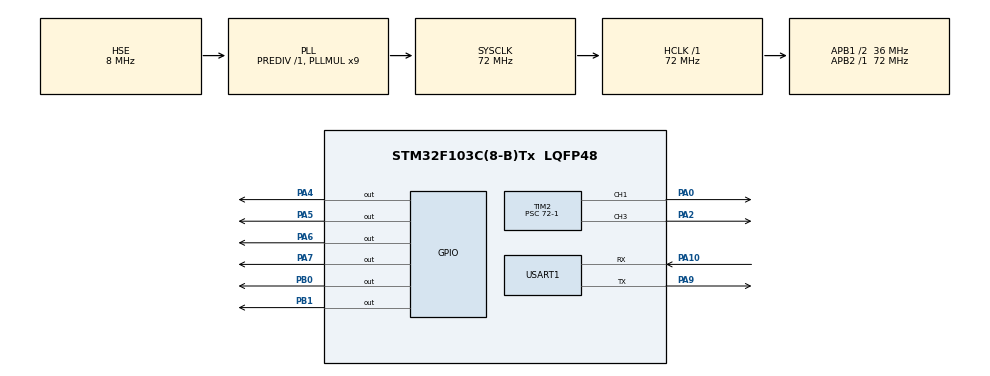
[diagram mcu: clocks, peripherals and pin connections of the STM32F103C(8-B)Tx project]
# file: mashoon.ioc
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Mcu.Family=STM32F1
Mcu.Name=STM32F103C(8-B)Tx
Mcu.Package=LQFP48
NVIC.PriorityGroup=NVIC_PRIORITYGROUP_4
NVIC.USART1_IRQn=true\:1\:0\:true\:false\:true\:true\:true
PA0-WKUP.Signal=S_TIM2_CH1_ETR
PA10.Mode=Asynchronous
PA10.Signal=USART1_RX
PA13.Mode=Serial_Wire
PA13.Signal=SYS_JTMS-SWDIO
PA14.Mode=Serial_Wire
PA14.Signal=SYS_JTCK-SWCLK
PA2.Signal=S_TIM2_CH3
PA4.Signal=GPIO_Output
PA5.Signal=GPIO_Output
PA6.Signal=GPIO_Output
PA7.Signal=GPIO_Output
PA9.Mode=Asynchronous
PA9.Signal=USART1_TX
PB0.Signal=GPIO_Output
PB1.Signal=GPIO_Output
PD0-OSC_IN.Mode=HSE-External-Oscillator
PD0-OSC_IN.Signal=RCC_OSC_IN
PD1-OSC_OUT.Mode=HSE-External-Oscillator
PD1-OSC_OUT.Signal=RCC_OSC_OUT
ProjectManager.HeapSize=0x200
ProjectManager.StackSize=0x400
ProjectManager.TargetToolchain=MDK-ARM V5.27
RCC.AHBFreq_Value=72000000
RCC.APB1CLKDivider=RCC_HCLK_DIV2
RCC.APB1Freq_Value=36000000
RCC.APB1TimFreq_Value=72000000
RCC.APB2Freq_Value=72000000
RCC.APB2TimFreq_Value=72000000
RCC.HCLKFreq_Value=72000000
RCC.PLLMUL=RCC_PLL_MUL9
RCC.PLLSourceVirtual=RCC_PLLSOURCE_HSE
RCC.SYSCLKFreq_VALUE=72000000
RCC.SYSCLKSource=RCC_SYSCLKSOURCE_PLLCLK
RCC.USBFreq_Value=72000000
SH.S_TIM2_CH1_ETR.0=TIM2_CH1,PWM Generation1 CH1
SH.S_TIM2_CH3.0=TIM2_CH3,PWM Generation3 CH3
TIM2.Channel-PWM\ Generation1\ CH1=TIM_CHANNEL_1
TIM2.Channel-PWM\ Generation3\ CH3=TIM_CHANNEL_3
TIM2.Period=1000-1
TIM2.Prescaler=72-1
USART1.VirtualMode=VM_ASYNC
VP_TIM2_VS_ClockSourceINT.Mode=Internal
board=custom

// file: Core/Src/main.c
/* USER CODE BEGIN Header */
/**
  ******************************************************************************
  * @file           : main.c
  * @brief          : Main program body
  ******************************************************************************
  * @attention
  *
  * <h2><center>&copy; Copyright (c) 2021 STMicroelectronics.
  * All rights reserved.</center></h2>
  *
  * This software component is licensed by ST under BSD 3-Clause license,
  * the "License"; You may not use this file except in compliance with the
  * License. You may obtain a copy of the License at:
  *                        opensource.org/licenses/BSD-3-Clause
  *
  ******************************************************************************
  */
/* USER CODE END Header */
#include "main.h"

/* USER CODE BEGIN Includes */
#include "dgh_esp8266.h"

/* USER CODE END Includes */

TIM_HandleTypeDef htim2;

UART_HandleTypeDef huart1;

/* USER CODE BEGIN PV */
char robot_status[2] = {'n', 'r'}; //not ready
extern uint16_t dbg;
extern uint8_t esp_Rdata2[11+2], esp_Rdata[200];

/* USER CODE END PV */

void SystemClock_Config(void);
static void MX_GPIO_Init(void);
static void MX_USART1_UART_Init(void);
static void MX_TIM2_Init(void);
/* USER CODE BEGIN PFP */
void robot_forward(void);
void robot_left(void);
void robot_right(void);
void robot_backward(void);
void robot_stop(void);
void robot_half_left(void);
void robot_half_right(void);

/* USER CODE END PFP */

int main(void)
{

  /* MCU Configuration--------------------------------------------------------*/

  /* Reset of all peripherals, Initializes the Flash interface and the Systick. */
  HAL_Init();

  /* Configure the system clock */
  SystemClock_Config();

  /* Initialize all configured peripherals */
  MX_GPIO_Init();
  MX_USART1_UART_Init();
  MX_TIM2_Init();

  /* USER CODE BEGIN 2 */

	HAL_Delay(2000);
	if(ESP_IsDeviceReady() == HAL_OK)
		dbg += 1;
	for(uint8_t i=0; i<30; i+=1)
	{
		HAL_GPIO_TogglePin(GPIOB, GPIO_PIN_0);
		HAL_Delay(60);
	}
	HAL_Delay(1500);
	if(ESP_TCPServer() == HAL_OK)
		dbg += 1;
	for(uint8_t i=0; i<29; i+=1)
	{
		HAL_GPIO_TogglePin(GPIOB, GPIO_PIN_1);
		HAL_Delay(60);
	}
	HAL_Delay(1500);

	while( strstr( (char*) esp_Rdata, "CONNECT") == 0 ){}
	for(uint8_t i=0; i<30; i+=1)
	{
		HAL_GPIO_TogglePin(GPIOB, GPIO_PIN_0);
		HAL_GPIO_TogglePin(GPIOB, GPIO_PIN_1);
		HAL_Delay(80);
	}
	HAL_GPIO_WritePin(GPIOB, GPIO_PIN_1, GPIO_PIN_RESET);
	robot_status[0] = 'r'; //ready
	robot_status[1] = '-';

	HAL_UART_Receive_IT(&huart1, esp_Rdata2, 11+2);

	//Motors Roshan
	HAL_TIM_PWM_Start(&htim2, TIM_CHANNEL_1);
	HAL_TIM_PWM_Start(&htim2, TIM_CHANNEL_3);
	TIM2->CCR1 = 800;
	TIM2->CCR3 = 800;
  /* USER CODE END 2 */

  /* Infinite loop */
  while (1)
  {

    /* USER CODE BEGIN 3 */
		//moves with respect to robot status

		if(robot_status[0]=='y' && robot_status[1]=='p')
		{
			robot_forward();
			HAL_Delay(50);
		}
		else if(robot_status[0]=='y' && robot_status[1]=='n')
		{
			robot_backward();
			HAL_Delay(50);
		}
		else if(robot_status[0]=='z' && robot_status[1]=='n')
		{
			robot_right();
			HAL_Delay(2);
			robot_stop();
			HAL_Delay(2);
		}
		else if(robot_status[0]=='z' && robot_status[1]=='p')
		{
			robot_left();
			HAL_Delay(2);
			robot_stop();
			HAL_Delay(2);
		}
		else if(robot_status[0]=='x' && robot_status[1]=='p')
		{
			robot_half_right();
			HAL_Delay(50);
		}
		else if(robot_status[0]=='x' && robot_status[1]=='n')
		{
			robot_half_left();
			HAL_Delay(50);
		}
		else
		{
			robot_stop();
			HAL_Delay(75);
		}
  }
}

void robot_backward(void)
{
	HAL_GPIO_WritePin(GPIOA, GPIO_PIN_4, GPIO_PIN_RESET);
	HAL_GPIO_WritePin(GPIOA, GPIO_PIN_5, GPIO_PIN_SET);
	HAL_GPIO_WritePin(GPIOA, GPIO_PIN_6, GPIO_PIN_RESET);
	HAL_GPIO_WritePin(GPIOA, GPIO_PIN_7, GPIO_PIN_SET);
}

void robot_right(void)
{
	HAL_GPIO_WritePin(GPIOA, GPIO_PIN_4, GPIO_PIN_SET);
	HAL_GPIO_WritePin(GPIOA, GPIO_PIN_5, GPIO_PIN_RESET);
	HAL_GPIO_WritePin(GPIOA, GPIO_PIN_6, GPIO_PIN_RESET);
	HAL_GPIO_WritePin(GPIOA, GPIO_PIN_7, GPIO_PIN_SET);
}

void robot_half_right(void)
{
	HAL_GPIO_WritePin(GPIOA, GPIO_PIN_4, GPIO_PIN_SET);
	HAL_GPIO_WritePin(GPIOA, GPIO_PIN_5, GPIO_PIN_RESET);
	HAL_GPIO_WritePin(GPIOA, GPIO_PIN_6, GPIO_PIN_RESET);
	HAL_GPIO_WritePin(GPIOA, GPIO_PIN_7, GPIO_PIN_RESET);
}

void robot_left(void)
{
	HAL_GPIO_WritePin(GPIOA, GPIO_PIN_4, GPIO_PIN_RESET);
	HAL_GPIO_WritePin(GPIOA, GPIO_PIN_5, GPIO_PIN_SET);
	HAL_GPIO_WritePin(GPIOA, GPIO_PIN_6, GPIO_PIN_SET);
	HAL_GPIO_WritePin(GPIOA, GPIO_PIN_7, GPIO_PIN_RESET);
}

void robot_half_left(void)
{
	HAL_GPIO_WritePin(GPIOA, GPIO_PIN_4, GPIO_PIN_RESET);
	HAL_GPIO_WritePin(GPIOA, GPIO_PIN_5, GPIO_PIN_SET);
	HAL_GPIO_WritePin(GPIOA, GPIO_PIN_6, GPIO_PIN_SET);
	HAL_GPIO_WritePin(GPIOA, GPIO_PIN_7, GPIO_PIN_RESET);
}

void robot_forward(void)
{
	HAL_GPIO_WritePin(GPIOA, GPIO_PIN_4, GPIO_PIN_SET);
	HAL_GPIO_WritePin(GPIOA, GPIO_PIN_5, GPIO_PIN_RESET);
	HAL_GPIO_WritePin(GPIOA, GPIO_PIN_6, GPIO_PIN_SET);
	HAL_GPIO_WritePin(GPIOA, GPIO_PIN_7, GPIO_PIN_RESET);
}

void robot_stop(void)
{
	HAL_GPIO_WritePin(GPIOA, GPIO_PIN_4, GPIO_PIN_RESET);
	HAL_GPIO_WritePin(GPIOA, GPIO_PIN_5, GPIO_PIN_RESET);
	HAL_GPIO_WritePin(GPIOA, GPIO_PIN_6, GPIO_PIN_RESET);
	HAL_GPIO_WritePin(GPIOA, GPIO_PIN_7, GPIO_PIN_RESET);
}

/* USER CODE END 3 */

void SystemClock_Config(void)
{
  RCC_OscInitTypeDef RCC_OscInitStruct = {0};
  RCC_ClkInitTypeDef RCC_ClkInitStruct = {0};

  /** Initializes the RCC Oscillators according to the specified parameters
  * in the RCC_OscInitTypeDef structure.
  */
  RCC_OscInitStruct.OscillatorType = RCC_OSCILLATORTYPE_HSE;
  RCC_OscInitStruct.HSEState = RCC_HSE_ON;
  RCC_OscInitStruct.HSEPredivValue = RCC_HSE_PREDIV_DIV1;
  RCC_OscInitStruct.HSIState = RCC_HSI_ON;
  RCC_OscInitStruct.PLL.PLLState = RCC_PLL_ON;
  RCC_OscInitStruct.PLL.PLLSource = RCC_PLLSOURCE_HSE;
  RCC_OscInitStruct.PLL.PLLMUL = RCC_PLL_MUL9;
  if (HAL_RCC_OscConfig(&RCC_OscInitStruct) != HAL_OK)
  {
    Error_Handler();
  }
  /** Initializes the CPU, AHB and APB buses clocks
  */
  RCC_ClkInitStruct.ClockType = RCC_CLOCKTYPE_HCLK|RCC_CLOCKTYPE_SYSCLK
                              |RCC_CLOCKTYPE_PCLK1|RCC_CLOCKTYPE_PCLK2;
  RCC_ClkInitStruct.SYSCLKSource = RCC_SYSCLKSOURCE_PLLCLK;
  RCC_ClkInitStruct.AHBCLKDivider = RCC_SYSCLK_DIV1;
  RCC_ClkInitStruct.APB1CLKDivider = RCC_HCLK_DIV2;
  RCC_ClkInitStruct.APB2CLKDivider = RCC_HCLK_DIV1;

  if (HAL_RCC_ClockConfig(&RCC_ClkInitStruct, FLASH_LATENCY_2) != HAL_OK)
  {
    Error_Handler();
  }
}

static void MX_TIM2_Init(void)
{

  TIM_ClockConfigTypeDef sClockSourceConfig = {0};
  TIM_MasterConfigTypeDef sMasterConfig = {0};
  TIM_OC_InitTypeDef sConfigOC = {0};

  htim2.Instance = TIM2;
  htim2.Init.Prescaler = 72-1;
  htim2.Init.CounterMode = TIM_COUNTERMODE_UP;
  htim2.Init.Period = 1000-1;
  htim2.Init.ClockDivision = TIM_CLOCKDIVISION_DIV1;
  htim2.Init.AutoReloadPreload = TIM_AUTORELOAD_PRELOAD_DISABLE;
  if (HAL_TIM_Base_Init(&htim2) != HAL_OK)
  {
    Error_Handler();
  }
  sClockSourceConfig.ClockSource = TIM_CLOCKSOURCE_INTERNAL;
  if (HAL_TIM_ConfigClockSource(&htim2, &sClockSourceConfig) != HAL_OK)
  {
    Error_Handler();
  }
  if (HAL_TIM_PWM_Init(&htim2) != HAL_OK)
  {
    Error_Handler();
  }
  sMasterConfig.MasterOutputTrigger = TIM_TRGO_RESET;
  sMasterConfig.MasterSlaveMode = TIM_MASTERSLAVEMODE_DISABLE;
  if (HAL_TIMEx_MasterConfigSynchronization(&htim2, &sMasterConfig) != HAL_OK)
  {
    Error_Handler();
  }
  sConfigOC.OCMode = TIM_OCMODE_PWM1;
  sConfigOC.Pulse = 0;
  sConfigOC.OCPolarity = TIM_OCPOLARITY_HIGH;
  sConfigOC.OCFastMode = TIM_OCFAST_DISABLE;
  if (HAL_TIM_PWM_ConfigChannel(&htim2, &sConfigOC, TIM_CHANNEL_1) != HAL_OK)
  {
    Error_Handler();
  }
  if (HAL_TIM_PWM_ConfigChannel(&htim2, &sConfigOC, TIM_CHANNEL_3) != HAL_OK)
  {
    Error_Handler();
  }
  HAL_TIM_MspPostInit(&htim2);

}

static void MX_USART1_UART_Init(void)
{

  huart1.Instance = USART1;
  huart1.Init.BaudRate = 115200;
  huart1.Init.WordLength = UART_WORDLENGTH_8B;
  huart1.Init.StopBits = UART_STOPBITS_1;
  huart1.Init.Parity = UART_PARITY_NONE;
  huart1.Init.Mode = UART_MODE_TX_RX;
  huart1.Init.HwFlowCtl = UART_HWCONTROL_NONE;
  huart1.Init.OverSampling = UART_OVERSAMPLING_16;
  if (HAL_UART_Init(&huart1) != HAL_OK)
  {
    Error_Handler();
  }

}

static void MX_GPIO_Init(void)
{
  GPIO_InitTypeDef GPIO_InitStruct = {0};

  /* GPIO Ports Clock Enable */
  __HAL_RCC_GPIOD_CLK_ENABLE();
  __HAL_RCC_GPIOA_CLK_ENABLE();
  __HAL_RCC_GPIOB_CLK_ENABLE();

  /*Configure GPIO pin Output Level */
  HAL_GPIO_WritePin(GPIOA, GPIO_PIN_4|GPIO_PIN_5|GPIO_PIN_6|GPIO_PIN_7, GPIO_PIN_RESET);

  /*Configure GPIO pin Output Level */
  HAL_GPIO_WritePin(GPIOB, GPIO_PIN_0|GPIO_PIN_1, GPIO_PIN_RESET);

  /*Configure GPIO pins : PA4 PA5 PA6 PA7 */
  GPIO_InitStruct.Pin = GPIO_PIN_4|GPIO_PIN_5|GPIO_PIN_6|GPIO_PIN_7;
  GPIO_InitStruct.Mode = GPIO_MODE_OUTPUT_PP;
  GPIO_InitStruct.Pull = GPIO_NOPULL;
  GPIO_InitStruct.Speed = GPIO_SPEED_FREQ_LOW;
  HAL_GPIO_Init(GPIOA, &GPIO_InitStruct);

  /*Configure GPIO pins : PB0 PB1 */
  GPIO_InitStruct.Pin = GPIO_PIN_0|GPIO_PIN_1;
  GPIO_InitStruct.Mode = GPIO_MODE_OUTPUT_PP;
  GPIO_InitStruct.Pull = GPIO_NOPULL;
  GPIO_InitStruct.Speed = GPIO_SPEED_FREQ_LOW;
  HAL_GPIO_Init(GPIOB, &GPIO_InitStruct);

}

void Error_Handler(void)
{
}

/************************ (C) COPYRIGHT STMicroelectronics *****END OF FILE****/
